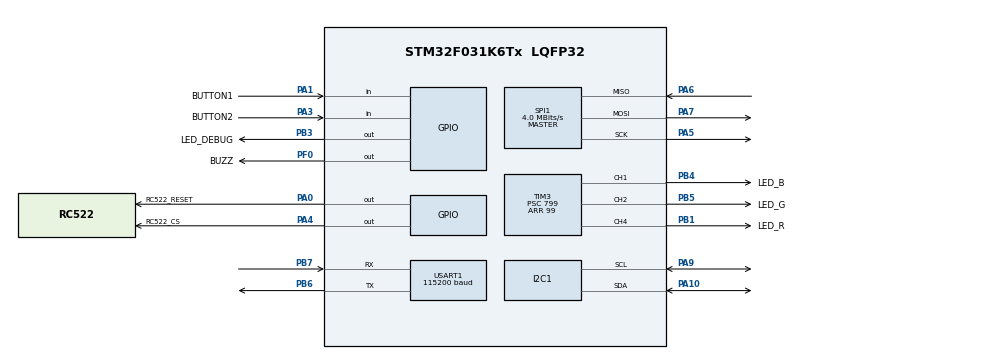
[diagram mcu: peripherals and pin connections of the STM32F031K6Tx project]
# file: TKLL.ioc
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Dma.Request0=TIM3_CH4/UP
Dma.TIM3_CH4/UP.0.Direction=DMA_MEMORY_TO_PERIPH
Dma.TIM3_CH4/UP.0.Instance=DMA1_Channel3
Dma.TIM3_CH4/UP.0.MemDataAlignment=DMA_MDATAALIGN_HALFWORD
Dma.TIM3_CH4/UP.0.MemInc=DMA_MINC_ENABLE
Dma.TIM3_CH4/UP.0.Mode=DMA_NORMAL
Dma.TIM3_CH4/UP.0.PeriphDataAlignment=DMA_PDATAALIGN_HALFWORD
Dma.TIM3_CH4/UP.0.PeriphInc=DMA_PINC_DISABLE
Dma.TIM3_CH4/UP.0.Priority=DMA_PRIORITY_LOW
Mcu.Family=STM32F0
Mcu.Name=STM32F031K6Tx
Mcu.Package=LQFP32
NVIC.DMA1_Channel2_3_IRQn=true\:0\:0\:false\:false\:true\:false\:true\:true
NVIC.SPI1_IRQn=true\:0\:0\:false\:false\:true\:true\:true\:true
NVIC.TIM3_IRQn=true\:0\:0\:false\:false\:true\:true\:true\:true
NVIC.USART1_IRQn=true\:0\:0\:false\:false\:true\:true\:true\:true
PA0.GPIO_Label=RC522_RESET
PA0.Signal=GPIO_Output
PA1.GPIO_Label=BUTTON1
PA1.GPIO_PuPd=GPIO_PULLUP
PA1.Signal=GPIO_Input
PA10.Mode=I2C
PA10.Signal=I2C1_SDA
PA13.GPIO_Label=SWDIO
PA13.Mode=Serial_Wire
PA13.Signal=SYS_SWDIO
PA14.GPIO_Label=SWCLK
PA14.Mode=Serial_Wire
PA14.Signal=SYS_SWCLK
PA3.GPIO_Label=BUTTON2
PA3.GPIO_PuPd=GPIO_PULLUP
PA3.Signal=GPIO_Input
PA4.GPIO_Label=RC522_CS
PA4.Signal=GPIO_Output
PA5.Mode=Full_Duplex_Master
PA5.Signal=SPI1_SCK
PA6.Mode=Full_Duplex_Master
PA6.Signal=SPI1_MISO
PA7.Mode=Full_Duplex_Master
PA7.Signal=SPI1_MOSI
PA9.Mode=I2C
PA9.Signal=I2C1_SCL
PB1.GPIO_Label=LED_R
PB1.Signal=S_TIM3_CH4
PB3.GPIO_Label=LED_DEBUG
PB3.Signal=GPIO_Output
PB4.GPIO_Label=LED_B
PB4.Signal=S_TIM3_CH1
PB5.GPIO_Label=LED_G
PB5.Signal=S_TIM3_CH2
PB6.Mode=Asynchronous
PB6.Signal=USART1_TX
PB7.Mode=Asynchronous
PB7.Signal=USART1_RX
PF0-OSC_IN.GPIO_Label=BUZZ
PF0-OSC_IN.Signal=GPIO_Output
ProjectManager.HeapSize=0x200
ProjectManager.StackSize=0x400
ProjectManager.TargetToolchain=STM32CubeIDE
SH.S_TIM3_CH1.0=TIM3_CH1,PWM Generation1 CH1
SH.S_TIM3_CH2.0=TIM3_CH2,PWM Generation2 CH2
SH.S_TIM3_CH4.0=TIM3_CH4,PWM Generation4 CH4
SPI1.BaudRatePrescaler=SPI_BAUDRATEPRESCALER_2
SPI1.CalculateBaudRate=4.0 MBits/s
SPI1.DataSize=SPI_DATASIZE_8BIT
SPI1.Direction=SPI_DIRECTION_2LINES
SPI1.Mode=SPI_MODE_MASTER
SPI1.VirtualType=VM_MASTER
TIM3.Channel-PWM\ Generation1\ CH1=TIM_CHANNEL_1
TIM3.Channel-PWM\ Generation2\ CH2=TIM_CHANNEL_2
TIM3.Channel-PWM\ Generation4\ CH4=TIM_CHANNEL_4
TIM3.Period=99
TIM3.Prescaler=799
USART1.BaudRate=115200
USART1.VirtualMode-Asynchronous=VM_ASYNC
VP_TIM3_VS_ClockSourceINT.Mode=Internal
board=NUCLEO-F031K6

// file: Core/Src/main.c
/* USER CODE BEGIN Header */
/**
  ******************************************************************************
  * @file           : main.c
  * @brief          : Main program body
  ******************************************************************************
  * @attention
  *
  * <h2><center>&copy; Copyright (c) 2024 STMicroelectronics.
  * All rights reserved.</center></h2>
  *
  * This software component is licensed by ST under BSD 3-Clause license,
  * the "License"; You may not use this file except in compliance with the
  * License. You may obtain a copy of the License at:
  *                        opensource.org/licenses/BSD-3-Clause
  *
  ******************************************************************************
  */
/* USER CODE END Header */
#include "main.h"

/* USER CODE BEGIN Includes */
#include "fsm.h"

/* USER CODE END Includes */

I2C_HandleTypeDef hi2c1;

SPI_HandleTypeDef hspi1;

TIM_HandleTypeDef htim3;
DMA_HandleTypeDef hdma_tim3_ch4_up;

UART_HandleTypeDef huart1;

void SystemClock_Config(void);
static void MX_GPIO_Init(void);
static void MX_TIM3_Init(void);
static void MX_DMA_Init(void);
static void MX_SPI1_Init(void);
static void MX_USART1_UART_Init(void);
static void MX_I2C1_Init(void);
/* USER CODE BEGIN PFP */
void led_debug();
void buzz_off();
/* USER CODE END PFP */

/* USER CODE BEGIN 0 */
uint8_t status_read;
uint8_t str[MAX_LEN]; // Max_LEN = 16
uint8_t readCard[4];
uint8_t previousCard[4];
uint8_t cardProcessed;
/* USER CODE END 0 */

int main(void)
{

  /* MCU Configuration--------------------------------------------------------*/

  /* Reset of all peripherals, Initializes the Flash interface and the Systick. */
  HAL_Init();

  /* Configure the system clock */
  SystemClock_Config();

  /* Initialize all configured peripherals */
  MX_GPIO_Init();
  MX_TIM3_Init();
  MX_DMA_Init();
  MX_SPI1_Init();
  MX_USART1_UART_Init();
  MX_I2C1_Init();
  /* USER CODE BEGIN 2 */
  HAL_TIM_Base_Start_IT (&htim3);
  HAL_TIM_PWM_Start(&htim3, TIM_CHANNEL_1);
  HAL_TIM_PWM_Start(&htim3, TIM_CHANNEL_2);
  HAL_TIM_PWM_Start(&htim3, TIM_CHANNEL_4);
  /* USER CODE END 2 */

  /* Infinite loop */
  /* USER CODE BEGIN WHILE */

  lcd_init();
  MFRC522_Init();
  HAL_GPIO_WritePin(BUZZ_GPIO_Port, BUZZ_Pin, 0);
  SCH_Add_Task(led_debug, 100, 1000);
  SCH_Add_Task(getKeyinput, 10, 20);
   while (1)
   {
		status_read = MFRC522_Request(PICC_REQIDL, str);
		status_read = MFRC522_Anticoll(str);
		memcpy(readCard, str, 4);

		if(status_read == MI_OK){
			if(memcmp(readCard, previousCard, 4) != 0){
				  HAL_GPIO_WritePin(BUZZ_GPIO_Port, BUZZ_Pin, 1);
				SCH_Add_Task(buzz_off, 50, 0);
				 memcpy(previousCard, readCard, 4);
			}
		}
		fsm(readCard, status_read);
		SCH_Dispatch_Task();
    /* USER CODE END WHILE */

  }
}

void SystemClock_Config(void)
{
  RCC_OscInitTypeDef RCC_OscInitStruct = {0};
  RCC_ClkInitTypeDef RCC_ClkInitStruct = {0};
  RCC_PeriphCLKInitTypeDef PeriphClkInit = {0};

  /** Initializes the RCC Oscillators according to the specified parameters
  * in the RCC_OscInitTypeDef structure.
  */
  RCC_OscInitStruct.OscillatorType = RCC_OSCILLATORTYPE_HSI;
  RCC_OscInitStruct.HSIState = RCC_HSI_ON;
  RCC_OscInitStruct.HSICalibrationValue = RCC_HSICALIBRATION_DEFAULT;
  RCC_OscInitStruct.PLL.PLLState = RCC_PLL_NONE;
  if (HAL_RCC_OscConfig(&RCC_OscInitStruct) != HAL_OK)
  {
    Error_Handler();
  }
  /** Initializes the CPU, AHB and APB buses clocks
  */
  RCC_ClkInitStruct.ClockType = RCC_CLOCKTYPE_HCLK|RCC_CLOCKTYPE_SYSCLK
                              |RCC_CLOCKTYPE_PCLK1;
  RCC_ClkInitStruct.SYSCLKSource = RCC_SYSCLKSOURCE_HSI;
  RCC_ClkInitStruct.AHBCLKDivider = RCC_SYSCLK_DIV1;
  RCC_ClkInitStruct.APB1CLKDivider = RCC_HCLK_DIV1;

  if (HAL_RCC_ClockConfig(&RCC_ClkInitStruct, FLASH_LATENCY_0) != HAL_OK)
  {
    Error_Handler();
  }
  PeriphClkInit.PeriphClockSelection = RCC_PERIPHCLK_USART1|RCC_PERIPHCLK_I2C1;
  PeriphClkInit.Usart1ClockSelection = RCC_USART1CLKSOURCE_PCLK1;
  PeriphClkInit.I2c1ClockSelection = RCC_I2C1CLKSOURCE_HSI;
  if (HAL_RCCEx_PeriphCLKConfig(&PeriphClkInit) != HAL_OK)
  {
    Error_Handler();
  }
}

static void MX_I2C1_Init(void)
{

  hi2c1.Instance = I2C1;
  hi2c1.Init.Timing = 0x2000090E;
  hi2c1.Init.OwnAddress1 = 0;
  hi2c1.Init.AddressingMode = I2C_ADDRESSINGMODE_7BIT;
  hi2c1.Init.DualAddressMode = I2C_DUALADDRESS_DISABLE;
  hi2c1.Init.OwnAddress2 = 0;
  hi2c1.Init.OwnAddress2Masks = I2C_OA2_NOMASK;
  hi2c1.Init.GeneralCallMode = I2C_GENERALCALL_DISABLE;
  hi2c1.Init.NoStretchMode = I2C_NOSTRETCH_DISABLE;
  if (HAL_I2C_Init(&hi2c1) != HAL_OK)
  {
    Error_Handler();
  }
  /** Configure Analogue filter
  */
  if (HAL_I2CEx_ConfigAnalogFilter(&hi2c1, I2C_ANALOGFILTER_ENABLE) != HAL_OK)
  {
    Error_Handler();
  }
  /** Configure Digital filter
  */
  if (HAL_I2CEx_ConfigDigitalFilter(&hi2c1, 0) != HAL_OK)
  {
    Error_Handler();
  }

}

static void MX_SPI1_Init(void)
{

  /* SPI1 parameter configuration*/
  hspi1.Instance = SPI1;
  hspi1.Init.Mode = SPI_MODE_MASTER;
  hspi1.Init.Direction = SPI_DIRECTION_2LINES;
  hspi1.Init.DataSize = SPI_DATASIZE_8BIT;
  hspi1.Init.CLKPolarity = SPI_POLARITY_LOW;
  hspi1.Init.CLKPhase = SPI_PHASE_1EDGE;
  hspi1.Init.NSS = SPI_NSS_SOFT;
  hspi1.Init.BaudRatePrescaler = SPI_BAUDRATEPRESCALER_2;
  hspi1.Init.FirstBit = SPI_FIRSTBIT_MSB;
  hspi1.Init.TIMode = SPI_TIMODE_DISABLE;
  hspi1.Init.CRCCalculation = SPI_CRCCALCULATION_DISABLE;
  hspi1.Init.CRCPolynomial = 7;
  hspi1.Init.CRCLength = SPI_CRC_LENGTH_DATASIZE;
  hspi1.Init.NSSPMode = SPI_NSS_PULSE_ENABLE;
  if (HAL_SPI_Init(&hspi1) != HAL_OK)
  {
    Error_Handler();
  }

}

static void MX_TIM3_Init(void)
{

  TIM_ClockConfigTypeDef sClockSourceConfig = {0};
  TIM_MasterConfigTypeDef sMasterConfig = {0};
  TIM_OC_InitTypeDef sConfigOC = {0};

  htim3.Instance = TIM3;
  htim3.Init.Prescaler = 799;
  htim3.Init.CounterMode = TIM_COUNTERMODE_UP;
  htim3.Init.Period = 99;
  htim3.Init.ClockDivision = TIM_CLOCKDIVISION_DIV1;
  htim3.Init.AutoReloadPreload = TIM_AUTORELOAD_PRELOAD_DISABLE;
  if (HAL_TIM_Base_Init(&htim3) != HAL_OK)
  {
    Error_Handler();
  }
  sClockSourceConfig.ClockSource = TIM_CLOCKSOURCE_INTERNAL;
  if (HAL_TIM_ConfigClockSource(&htim3, &sClockSourceConfig) != HAL_OK)
  {
    Error_Handler();
  }
  if (HAL_TIM_PWM_Init(&htim3) != HAL_OK)
  {
    Error_Handler();
  }
  sMasterConfig.MasterOutputTrigger = TIM_TRGO_RESET;
  sMasterConfig.MasterSlaveMode = TIM_MASTERSLAVEMODE_DISABLE;
  if (HAL_TIMEx_MasterConfigSynchronization(&htim3, &sMasterConfig) != HAL_OK)
  {
    Error_Handler();
  }
  sConfigOC.OCMode = TIM_OCMODE_PWM1;
  sConfigOC.Pulse = 0;
  sConfigOC.OCPolarity = TIM_OCPOLARITY_HIGH;
  sConfigOC.OCFastMode = TIM_OCFAST_DISABLE;
  if (HAL_TIM_PWM_ConfigChannel(&htim3, &sConfigOC, TIM_CHANNEL_1) != HAL_OK)
  {
    Error_Handler();
  }
  if (HAL_TIM_PWM_ConfigChannel(&htim3, &sConfigOC, TIM_CHANNEL_2) != HAL_OK)
  {
    Error_Handler();
  }
  if (HAL_TIM_PWM_ConfigChannel(&htim3, &sConfigOC, TIM_CHANNEL_4) != HAL_OK)
  {
    Error_Handler();
  }
  HAL_TIM_MspPostInit(&htim3);

}

static void MX_USART1_UART_Init(void)
{

  huart1.Instance = USART1;
  huart1.Init.BaudRate = 115200;
  huart1.Init.WordLength = UART_WORDLENGTH_8B;
  huart1.Init.StopBits = UART_STOPBITS_1;
  huart1.Init.Parity = UART_PARITY_NONE;
  huart1.Init.Mode = UART_MODE_TX_RX;
  huart1.Init.HwFlowCtl = UART_HWCONTROL_NONE;
  huart1.Init.OverSampling = UART_OVERSAMPLING_16;
  huart1.Init.OneBitSampling = UART_ONE_BIT_SAMPLE_DISABLE;
  huart1.AdvancedInit.AdvFeatureInit = UART_ADVFEATURE_NO_INIT;
  if (HAL_UART_Init(&huart1) != HAL_OK)
  {
    Error_Handler();
  }

}

static void MX_DMA_Init(void)
{

  /* DMA controller clock enable */
  __HAL_RCC_DMA1_CLK_ENABLE();

  /* DMA interrupt init */
  /* DMA1_Channel2_3_IRQn interrupt configuration */
  HAL_NVIC_SetPriority(DMA1_Channel2_3_IRQn, 0, 0);
  HAL_NVIC_EnableIRQ(DMA1_Channel2_3_IRQn);

}

static void MX_GPIO_Init(void)
{
  GPIO_InitTypeDef GPIO_InitStruct = {0};

  /* GPIO Ports Clock Enable */
  __HAL_RCC_GPIOF_CLK_ENABLE();
  __HAL_RCC_GPIOA_CLK_ENABLE();
  __HAL_RCC_GPIOB_CLK_ENABLE();

  /*Configure GPIO pin Output Level */
  HAL_GPIO_WritePin(BUZZ_GPIO_Port, BUZZ_Pin, GPIO_PIN_RESET);

  /*Configure GPIO pin Output Level */
  HAL_GPIO_WritePin(GPIOA, RC522_RESET_Pin|RC522_CS_Pin, GPIO_PIN_RESET);

  /*Configure GPIO pin Output Level */
  HAL_GPIO_WritePin(LED_DEBUG_GPIO_Port, LED_DEBUG_Pin, GPIO_PIN_RESET);

  /*Configure GPIO pin : BUZZ_Pin */
  GPIO_InitStruct.Pin = BUZZ_Pin;
  GPIO_InitStruct.Mode = GPIO_MODE_OUTPUT_PP;
  GPIO_InitStruct.Pull = GPIO_NOPULL;
  GPIO_InitStruct.Speed = GPIO_SPEED_FREQ_LOW;
  HAL_GPIO_Init(BUZZ_GPIO_Port, &GPIO_InitStruct);

  /*Configure GPIO pins : RC522_RESET_Pin RC522_CS_Pin */
  GPIO_InitStruct.Pin = RC522_RESET_Pin|RC522_CS_Pin;
  GPIO_InitStruct.Mode = GPIO_MODE_OUTPUT_PP;
  GPIO_InitStruct.Pull = GPIO_NOPULL;
  GPIO_InitStruct.Speed = GPIO_SPEED_FREQ_LOW;
  HAL_GPIO_Init(GPIOA, &GPIO_InitStruct);

  /*Configure GPIO pins : BUTTON1_Pin BUTTON2_Pin */
  GPIO_InitStruct.Pin = BUTTON1_Pin|BUTTON2_Pin;
  GPIO_InitStruct.Mode = GPIO_MODE_INPUT;
  GPIO_InitStruct.Pull = GPIO_PULLUP;
  HAL_GPIO_Init(GPIOA, &GPIO_InitStruct);

  /*Configure GPIO pin : LED_DEBUG_Pin */
  GPIO_InitStruct.Pin = LED_DEBUG_Pin;
  GPIO_InitStruct.Mode = GPIO_MODE_OUTPUT_PP;
  GPIO_InitStruct.Pull = GPIO_NOPULL;
  GPIO_InitStruct.Speed = GPIO_SPEED_FREQ_LOW;
  HAL_GPIO_Init(LED_DEBUG_GPIO_Port, &GPIO_InitStruct);

}

/* USER CODE BEGIN 4 */
void led_debug(){
	HAL_GPIO_TogglePin(GPIOB, GPIO_PIN_3);
}
void buzz_off(){
	HAL_GPIO_WritePin(BUZZ_GPIO_Port, BUZZ_Pin, 0);
}
void HAL_TIM_PeriodElapsedCallback(TIM_HandleTypeDef * htim){
	SCH_Update();
}
/* USER CODE END 4 */

void Error_Handler(void)
{
  __disable_irq();
  while (1)
  {
  }
}

/************************ (C) COPYRIGHT STMicroelectronics *****END OF FILE****/
